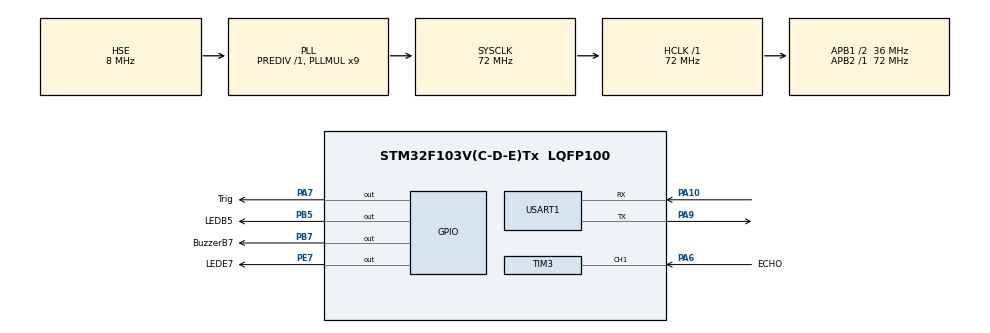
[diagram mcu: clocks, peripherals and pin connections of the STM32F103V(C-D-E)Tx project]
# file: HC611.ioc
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Mcu.Family=STM32F1
Mcu.Name=STM32F103V(C-D-E)Tx
Mcu.Package=LQFP100
NVIC.PriorityGroup=NVIC_PRIORITYGROUP_4
NVIC.TIM3_IRQn=true\:0\:0\:false\:false\:true\:true\:true
NVIC.USART1_IRQn=true\:0\:0\:false\:false\:true\:true\:true
OSC_IN.Mode=HSE-External-Oscillator
OSC_IN.Signal=RCC_OSC_IN
OSC_OUT.Mode=HSE-External-Oscillator
OSC_OUT.Signal=RCC_OSC_OUT
PA10.Mode=Asynchronous
PA10.Signal=USART1_RX
PA6.GPIO_Label=ECHO
PA6.GPIO_PuPd=GPIO_PULLDOWN
PA6.Signal=S_TIM3_CH1
PA7.GPIO_Label=Trig
PA7.Signal=GPIO_Output
PA9.Mode=Asynchronous
PA9.Signal=USART1_TX
PB5.GPIO_Label=LEDB5
PB5.GPIO_PuPd=GPIO_PULLUP
PB5.Signal=GPIO_Output
PB7.GPIO_Label=BuzzerB7
PB7.Signal=GPIO_Output
PE7.GPIO_Label=LEDE7
PE7.GPIO_PuPd=GPIO_PULLUP
PE7.Signal=GPIO_Output
ProjectManager.HeapSize=0x200
ProjectManager.StackSize=0x400
ProjectManager.TargetToolchain=MDK-ARM V5
RCC.AHBFreq_Value=72000000
RCC.APB1CLKDivider=RCC_HCLK_DIV2
RCC.APB1Freq_Value=36000000
RCC.APB1TimFreq_Value=72000000
RCC.APB2Freq_Value=72000000
RCC.APB2TimFreq_Value=72000000
RCC.HCLKFreq_Value=72000000
RCC.PLLMUL=RCC_PLL_MUL9
RCC.PLLSourceVirtual=RCC_PLLSOURCE_HSE
RCC.SYSCLKFreq_VALUE=72000000
RCC.SYSCLKSource=RCC_SYSCLKSOURCE_PLLCLK
RCC.USBFreq_Value=72000000
SH.S_TIM3_CH1.0=TIM3_CH1,Input_Capture1_from_TI1
TIM3.AutoReloadPreload=TIM_AUTORELOAD_PRELOAD_ENABLE
TIM3.Channel-Input_Capture1_from_TI1=TIM_CHANNEL_1
TIM3.Period=2-1
TIM3.Prescaler=72-1
USART1.VirtualMode=VM_ASYNC
VP_SYS_VS_ND.Mode=No_Debug
VP_TIM3_VS_ClockSourceINT.Mode=Internal
board=custom

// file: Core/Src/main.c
/* USER CODE BEGIN Header */
/**
  ******************************************************************************
  * @file           : main.c
  * @brief          : Main program body
  ******************************************************************************
  * @attention
  *
  * <h2><center>&copy; Copyright (c) 2021 STMicroelectronics.
  * All rights reserved.</center></h2>
  *
  * This software component is licensed by ST under BSD 3-Clause license,
  * the "License"; You may not use this file except in compliance with the
  * License. You may obtain a copy of the License at:
  *                        opensource.org/licenses/BSD-3-Clause
  *
  ******************************************************************************
  */
/* USER CODE END Header */
#include "main.h"
#include "tim.h"
#include "usart.h"
#include "gpio.h"

/* USER CODE BEGIN Includes */
#include "stdio.h"
/* USER CODE END Includes */

void SystemClock_Config(void);
/* USER CODE BEGIN PFP */
float ChangeDistance(unsigned long); //距离计算函数（用户函数）
int fputc(int ch,FILE *f)
{
	HAL_UART_Transmit(&huart1,(uint8_t*)&ch,1,0xffff);
	return ch;
}
/* USER CODE END PFP */

/* USER CODE BEGIN 0 */
    uint32_t capture_Buf[3] = {0};   //存放计数值
    uint8_t capture_Cnt = 0;    //状态标志位
    uint32_t high_time;   //高电平时间

		unsigned long TIM3_Count = 0;
		unsigned Count = 0;
		float Distance;

		uint8_t RxData[1];

/* USER CODE END 0 */

int main(void)
{
  /* USER CODE BEGIN 1 */
	uint8_t buf[]="Hi this one is first important one\r\n";
	uint16_t len_buf =sizeof(buf);
	uint8_t CapIndex = 0;
	uint8_t CapValReady = 1;
	float USData = 0;
	uint16_t CapVal = 0;
	uint8_t TxData[12] = "";
	uint8_t ts1[] = "test1";
	double dis = 10;

  /* USER CODE END 1 */

  /* MCU Configuration--------------------------------------------------------*/

  /* Reset of all peripherals, Initializes the Flash interface and the Systick. */
  HAL_Init();

  /* Configure the system clock */
  SystemClock_Config();

  /* Initialize all configured peripherals */
  MX_GPIO_Init();
  MX_TIM3_Init();
  MX_USART1_UART_Init();
  /* USER CODE BEGIN 2 */
	//HAL_UART_Transmit(&huart1,"Hi this one is first important one\r\n",len_buf,100);//注意长度问题，对于长度尽可能保证不长也不少的情况
	HAL_GPIO_WritePin(BuzzerB7_GPIO_Port,BuzzerB7_Pin,GPIO_PIN_SET);
	HAL_Delay(150);
	HAL_GPIO_WritePin(BuzzerB7_GPIO_Port,BuzzerB7_Pin,GPIO_PIN_RESET);
	//HAL_UART_Transmit(&huart1,"\r\n",8,100);
	//HAL_UART_Transmit(&huart1,"0x0D，0x0A",6,100);
  /* USER CODE END 2 */

  /* Infinite loop */
  while (1)
  {

    /* USER CODE BEGIN 3 */
		HAL_GPIO_TogglePin(LEDB5_GPIO_Port,LEDB5_Pin);
		HAL_Delay(100);
		HAL_UART_Receive_IT(&huart1,(uint8_t*)RxData,1);
		/*
		if(CapValReady == 1)
		{
			HAL_UART_Transmit(&huart1,ts1,sizeof(ts1),100);//注意长度问题，对于长度尽可能保证不长也不少的情况
			//25.5cm-350cm
			USData = CapVal * 34000/1000000/2;//声速34000cm/s TIM3Freq：1000000Hz
			TxData[0] = USData;
			if(USData <= 350 && USData >= 25.5)
			{
				HAL_UART_Transmit(&huart1,TxData,sizeof(USData),100);
				HAL_UART_Transmit(&huart1,ts1,sizeof(ts1),100);//注意长度问题，对于长度尽可能保证不长也不少的情况
			}
			__HAL_TIM_DISABLE(&htim3);
			HAL_Delay(500);
			__HAL_TIM_SET_COUNTER(&htim3,0);//设置定时器3计数值为0
			__HAL_TIM_ENABLE(&htim3);
			CapValReady = 0;
			USTrig();
			HAL_TIM_IC_Start_IT(&htim3,TIM_CHANNEL_1);//定时器3通道1输入捕获使能
			HAL_UART_Transmit(&huart1,"test3",sizeof(ts1),100);//注意长度问题，对于长度尽可能保证不长也不少的情况
		}
			*/

			/*switch(capture_Cnt){
				case 0:
						capture_Cnt++;
					__HAL_TIM_SET_CAPTUREPOLARITY(&htim3,TIM_CHANNEL_1,TIM_INPUTCHANNELPOLARITY_BOTHEDGE);
					HAL_TIM_IC_Start_IT(&htim3,TIM_CHANNEL_1);
					break;
				case 3:
					high_time = capture_Buf[1]-capture_Buf[0];
					HAL_UART_Transmit(&huart1,(uint8_t*)high_time,1,0xffff);

				HAL_Delay(1000);
				capture_Cnt = 0;
				break;

			}*/

			HAL_GPIO_WritePin(Trig_GPIO_Port,Trig_Pin,GPIO_PIN_SET);
			HAL_Delay(20/1000);
			HAL_GPIO_WritePin(Trig_GPIO_Port,Trig_Pin,GPIO_PIN_RESET);

			TIM3_Count = 0;

			while(HAL_GPIO_ReadPin(ECHO_GPIO_Port,ECHO_Pin)==0);
			HAL_TIM_Base_Start_IT(&htim3);

			while(HAL_GPIO_ReadPin(ECHO_GPIO_Port,ECHO_Pin)==1);
			HAL_TIM_Base_Stop_IT(&htim3);

			Count = TIM3_Count;

			Distance = ChangeDistance(Count);

			//通过stm距离，考虑到数据的丢失，选择通过32直接判断
			/*
			if(Distance < 45000 && Distance > 25)
			{
				printf("%.2fcm\n",Distance/10);
			}
			else if(Distance >= 45000)
			{
				printf("Distance too far\n");
			}
			else
			{
				printf("Distance too close\n");
			}

			if(Distance < 800)
			{
				HAL_GPIO_WritePin(LEDE7_GPIO_Port,LEDE7_Pin,GPIO_PIN_RESET);
			}
			else
			{
				HAL_GPIO_WritePin(LEDE7_GPIO_Port,LEDE7_Pin,GPIO_PIN_SET);
			}
			*/

			//距离的判断标志，简化信息传递
			/*
			if(Distance < 800)
			{
				printf("%s","01");
				printf("\r");
				HAL_GPIO_WritePin(LEDE7_GPIO_Port,LEDE7_Pin,GPIO_PIN_RESET);
				HAL_Delay(100); //发送过于频繁，树莓派来不及接收
			}
			else
			{
				printf("%s","02");
				HAL_GPIO_WritePin(LEDE7_GPIO_Port,LEDE7_Pin,GPIO_PIN_SET);
				HAL_Delay(500);
			}
			*/
			HAL_Delay(900); //900ms是目前测试，不会导致数据超发的（重叠的周期）最短周期
			printf("%f",Distance/10.0); //或者对数据长度进行限制，再在树莓派上通过算法摘取合适的数据计入，需要纠错功能

		}

  /* USER CODE END 3 */
}

void SystemClock_Config(void)
{
  RCC_OscInitTypeDef RCC_OscInitStruct = {0};
  RCC_ClkInitTypeDef RCC_ClkInitStruct = {0};

  /** Initializes the RCC Oscillators according to the specified parameters
  * in the RCC_OscInitTypeDef structure.
  */
  RCC_OscInitStruct.OscillatorType = RCC_OSCILLATORTYPE_HSE;
  RCC_OscInitStruct.HSEState = RCC_HSE_ON;
  RCC_OscInitStruct.HSEPredivValue = RCC_HSE_PREDIV_DIV1;
  RCC_OscInitStruct.HSIState = RCC_HSI_ON;
  RCC_OscInitStruct.PLL.PLLState = RCC_PLL_ON;
  RCC_OscInitStruct.PLL.PLLSource = RCC_PLLSOURCE_HSE;
  RCC_OscInitStruct.PLL.PLLMUL = RCC_PLL_MUL9;
  if (HAL_RCC_OscConfig(&RCC_OscInitStruct) != HAL_OK)
  {
    Error_Handler();
  }
  /** Initializes the CPU, AHB and APB buses clocks
  */
  RCC_ClkInitStruct.ClockType = RCC_CLOCKTYPE_HCLK|RCC_CLOCKTYPE_SYSCLK
                              |RCC_CLOCKTYPE_PCLK1|RCC_CLOCKTYPE_PCLK2;
  RCC_ClkInitStruct.SYSCLKSource = RCC_SYSCLKSOURCE_PLLCLK;
  RCC_ClkInitStruct.AHBCLKDivider = RCC_SYSCLK_DIV1;
  RCC_ClkInitStruct.APB1CLKDivider = RCC_HCLK_DIV2;
  RCC_ClkInitStruct.APB2CLKDivider = RCC_HCLK_DIV1;

  if (HAL_RCC_ClockConfig(&RCC_ClkInitStruct, FLASH_LATENCY_2) != HAL_OK)
  {
    Error_Handler();
  }
}

/* USER CODE BEGIN 4 */
/*
void HAL_TIM_IC_CaptureCallback(TIM_HandleTypeDef *htim)
{

	if(TIM1 == htim ->Instance)
	{

		switch(capture_Cnt){
			case 1:
				capture_Buf[0] = HAL_TIM_ReadCapturedValue(&htim3,TIM_CHANNEL_1);
				__HAL_TIM_SET_CAPTUREPOLARITY(&htim3,TIM_CHANNEL_1,TIM_ICPOLARITY_FALLING);
				capture_Cnt++;
				break;
			case 2:
				capture_Buf[1] = HAL_TIM_ReadCapturedValue(&htim3,TIM_CHANNEL_1);
				HAL_TIM_IC_Stop_IT(&htim3,TIM_CHANNEL_1);
			  capture_Cnt++;
		}

	}

}

void HAL_TIM_IC_CaptureCallback(TIM_HandleTypeDef *htim)
{

	if(TIM5 == htim->Instance)
	{
		switch(capture_Cnt){
			case 1:
				capture_Buf[0] = HAL_TIM_ReadCapturedValue(&htim3,TIM_CHANNEL_1);//获取当前的捕获值.
				__HAL_TIM_SET_CAPTUREPOLARITY(&htim3,TIM_CHANNEL_1,TIM_ICPOLARITY_FALLING);  //设置为下降沿捕获
				capture_Cnt++;
				break;
			case 2:
				capture_Buf[1] = HAL_TIM_ReadCapturedValue(&htim3,TIM_CHANNEL_1);//获取当前的捕获值.
				HAL_TIM_IC_Stop_IT(&htim3,TIM_CHANNEL_1); //停止捕获   或者: __HAL_TIM_DISABLE(&htim5);
				capture_Cnt++;
		}

	}

}
*/

float ChangeDistance(unsigned long Count)
{

	float Distance;

	Distance = Count*340*2/2000.0;

	return Distance;
}

void HAL_UART_RxCpltCallback(UART_HandleTypeDef*huart)
{
	UNUSED(huart);
	if(RxData[0] =='1')
	{
		HAL_GPIO_WritePin(BuzzerB7_GPIO_Port,BuzzerB7_Pin,GPIO_PIN_SET);
	}
	else if(RxData[0] == '2')
	{
		HAL_GPIO_WritePin(BuzzerB7_GPIO_Port,BuzzerB7_Pin,GPIO_PIN_RESET);
	}
}
/* USER CODE END 4 */

void Error_Handler(void)
{
  __disable_irq();
  while (1)
  {
  }
}

/************************ (C) COPYRIGHT STMicroelectronics *****END OF FILE****/
